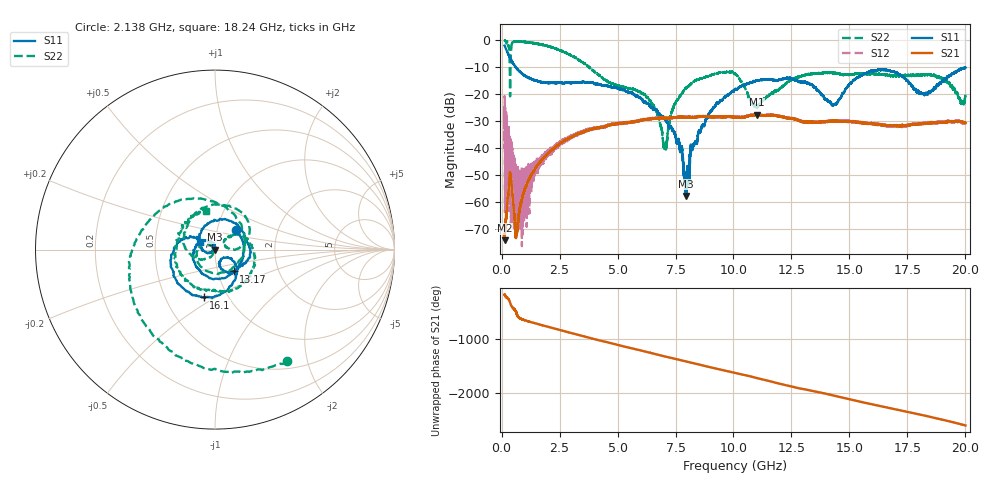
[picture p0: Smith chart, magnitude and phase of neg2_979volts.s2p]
!Created with skrf (http://scikit-rf.org).
# GHz S RI R 50.0
!freq ReS11 ImS11 ReS21 ImS21 ReS12 ImS12 ReS22 ImS22
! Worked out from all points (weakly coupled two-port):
!   20013 points, 130 MHz to 20 GHz, reference 50 ohm
!   highest |S21| = -27.75 dB at 11 GHz (marker M1); lowest = -74.4 dB at 135 MHz (marker M2)
!   lowest |S11| = -57.9 dB at 7.96 GHz (marker M3), VSWR 1.00, Z = 49.9 + j0.025 ohm
!   |S11| at or under -10 dB: 603.7041 MHz to 604.6628 MHz (958.7 kHz wide, 0.159 % of centre); 605.3 MHz to end of sweep
!   |S22| runs from -40.7 to -0.1 dB; largest |S21 - S12| = 0.091
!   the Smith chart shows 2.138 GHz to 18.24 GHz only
!   S11 on the Smith chart (normalised r, x): 2.138 GHz: 1.23, +0.28; 13.17 GHz: 1.19, -0.30; 16.1 GHz: 0.77, -0.44; 18.24 GHz: 0.84, +0.07
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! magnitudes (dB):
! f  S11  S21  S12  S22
! 130 MHz  -2.0  -73.3  -24.6  -0.2
! 135 MHz  -2.1  -74.4  -40.2  -0.2
! 358 MHz  -6.5  -49.3  -46.8  -14.1
! 624 MHz  -10.2  -73.1  -52.8  -0.5
! 815 MHz  -12.0  -61.5  -53.4  -0.5
! 2.138 GHz  -15.8  -41.0  -40.7  -2.6
! 3.442 GHz  -15.7  -34.3  -34.7  -8.0
! 6.754 GHz  -26.9  -28.9  -29.0  -28.2
! 7.055 GHz  -29.5  -29.0  -29.2  -40.7
! 7.702 GHz  -40.2  -28.5  -28.4  -20.6
! 7.96 GHz  -57.9  -28.6  -28.7  -17.7
! 8.222 GHz  -40.9  -28.7  -28.6  -15.8
! 8.9 GHz  -28.2  -28.4  -28.3  -13.4
! 10.06 GHz  -18.3  -28.6  -28.6  -12.6
! 11 GHz  -15.0  -27.8  -27.9  -25.2
! 13.17 GHz  -15.9  -30.4  -30.3  -12.8
! 13.38 GHz  -16.5  -30.5  -30.2  -12.5
! 14.35 GHz  -24.0  -30.0  -30.1  -12.1
! 16.1 GHz  -11.3  -31.2  -31.2  -12.8
! 16.69 GHz  -11.3  -31.7  -31.9  -13.0
! 18.24 GHz  -20.4  -30.9  -30.9  -13.0
! 20 GHz  -10.2  -30.8  -30.9  -20.7
